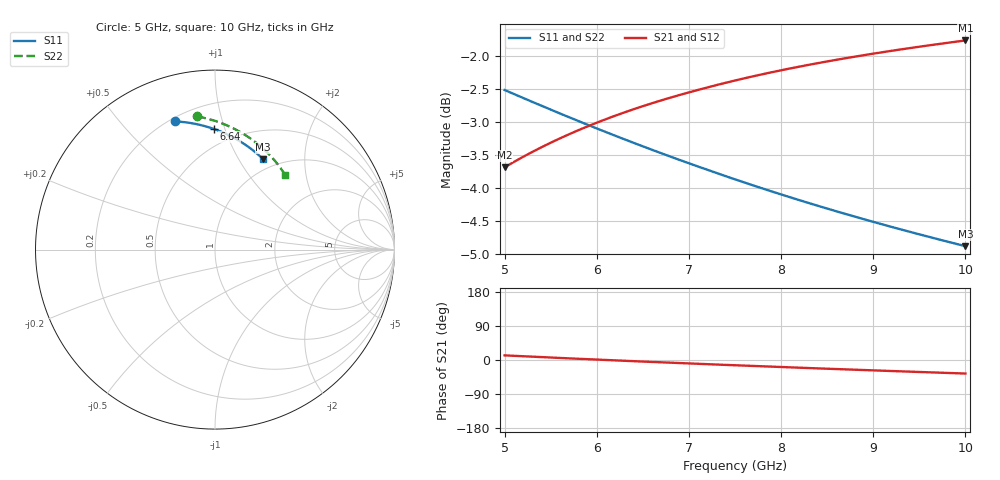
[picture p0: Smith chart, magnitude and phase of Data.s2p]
! Sonnet Data File
! From: em Version : 13.0.0.029 alpha
! From Project: SingleStub
! Data is De-embedded
! Data File Written: 06/08/2010 10:53:44
!< HDATE 06/08/2010 10:53:39
!< MDATE 06/08/2010 10:53:39
# GHZ S MA R 50.00000
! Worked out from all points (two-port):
!   251 points, 5 GHz to 10 GHz, reference 50 ohm
!   highest |S21| = -1.77 dB at 10 GHz (marker M1); lowest = -3.7 dB at 5 GHz (marker M2)
!   |S21| within 3 dB of the highest: start of sweep to end of sweep
!   lowest |S11| = -4.9 dB at 10 GHz (marker M3), VSWR 3.65, Z = 42.8 + j63.9 ohm
!   |S11| at or under -10 dB: nowhere
!   |S22| runs from -4.9 to -2.5 dB; largest |S21 - S12| = 0
!   S11 on the Smith chart (normalised r, x): 5 GHz: 0.22, +0.71; 6.64 GHz: 0.37, +0.92; 10 GHz: 0.86, +1.28
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5  0.7485 107.4  0.6542 12.2  0.6542 12.2  0.7481 97.6
!< P1 F=5.0 Eeff=(1.0055708 -5.7639e-3) Z0=(60.2548084 -0.1724562) R=0.0 C=0.01135715
!< P2 F=5.0 Eeff=(1.0055708 -5.7639e-3) Z0=(60.2548084 -0.1724562) R=0.0 C=0.01135715
5.2  0.7382 105.2  0.6663 9.9  0.6663 9.9  0.7378 95.1
5.42  0.7273 102.9  0.6786 7.4  0.6786 7.4  0.7269 92.4
5.62  0.7176 100.8  0.689 5.2  0.689 5.2  0.7172 90.0
5.84  0.7073 98.5  0.6998 2.8  0.6998 2.8  0.7069 87.4
6.04  0.6983 96.5  0.7089 0.6  0.7089 0.6  0.6979 85.2
6.24  0.6895 94.5  0.7174 -1.5  0.7174 -1.5  0.6891 82.9
6.44  0.681 92.6  0.7254 -3.5  0.7254 -3.5  0.6807 80.7
6.64  0.6729 90.7  0.733 -5.5  0.733 -5.5  0.6726 78.6
6.68  0.6713 90.3  0.7344 -5.9  0.7344 -5.9  0.671 78.2
6.88  0.6634 88.4  0.7414 -7.9  0.7414 -7.9  0.6632 76.1
7.1  0.6551 86.4  0.7487 -10.1  0.7487 -10.1  0.655 73.8
7.28  0.6485 84.7  0.7544 -11.8  0.7544 -11.8  0.6485 71.9
7.5  0.6407 82.8  0.761 -13.9  0.761 -13.9  0.6407 69.7
7.68  0.6345 81.2  0.7661 -15.6  0.7661 -15.6  0.6346 68.0
7.92  0.6266 79.0  0.7726 -17.8  0.7726 -17.8  0.6268 65.6
8.08  0.6216 77.7  0.7767 -19.3  0.7767 -19.3  0.6218 64.1
8.34  0.6136 75.4  0.783 -21.6  0.783 -21.6  0.6139 61.6
8.76  0.6015 71.9  0.7924 -25.3  0.7924 -25.3  0.6019 57.7
9.18  0.5903 68.4  0.801 -28.9  0.801 -28.9  0.5906 53.9
9.6  0.5797 65.0  0.8089 -32.5  0.8089 -32.5  0.5801 50.2
10  0.5703 61.9  0.8159 -35.8  0.8159 -35.8  0.5705 46.7
